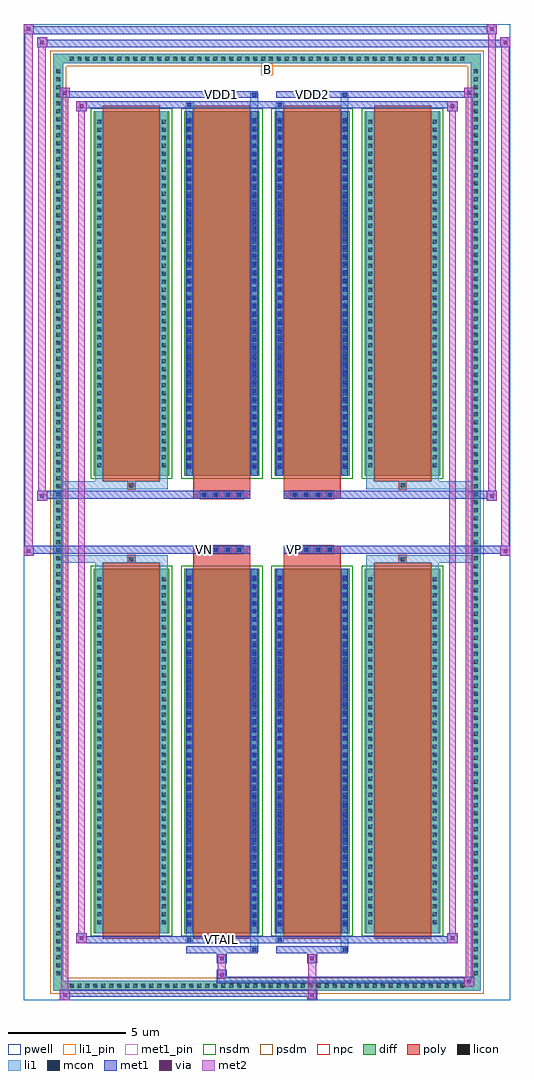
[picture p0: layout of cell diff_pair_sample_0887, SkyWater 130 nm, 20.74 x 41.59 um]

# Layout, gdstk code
import gdstk
lib = gdstk.Library(unit=1e-6, precision=5e-09)
def R(c, l, rs):  # rectangles x0, y0, x1, y1
    for r in rs: c.add(gdstk.rectangle(r[:2], r[2:], *l))
def A(c, l, x, y, w, h, nx, ny, dx, dy):  # array of equal rectangles
    R(c, l, [(x+i*dx, y+j*dy, x+i*dx+w, y+j*dy+h) for i in range(nx) for j in range(ny)])
def P(c, l, *ps):  # polygons
    for p in ps: c.add(gdstk.Polygon(p, *l))
pwell = (64, 44)
diff = (65, 20)
poly = (66, 20)
licon = (66, 44)
li1_pin = (67, 16)
li1 = (67, 20)
mcon = (67, 44)
met1_pin = (68, 16)
met1 = (68, 20)
via = (68, 44)
met2 = (69, 20)
nsdm = (93, 44)
psdm = (94, 20)
npc = (95, 20)

diff_pair_sample_0887 = lib.new_cell('diff_pair_sample_0887')
R(diff_pair_sample_0887, pwell, [(-10.37,-20.36,10.37,21.23), (-7.69,-18.55,-0.01,-0.805), (0.01,-18.55,7.69,-0.805), (-7.69,0.805,-0.01,18.55), (0.01,0.805,7.69,18.55)])
A(diff_pair_sample_0887, diff, -8.535, -19.96, 0.41, 0.41, 50, 2, 0.34, 39.51)
A(diff_pair_sample_0887, diff, -9.1, -19.415, 0.41, 0.41, 1, 114, 0, 0.34)
A(diff_pair_sample_0887, diff, 8.69, -19.415, 0.41, 0.41, 1, 114, 0, 0.34)
A(diff_pair_sample_0887, diff, -7.38, -17.505, 3.21, 15.52, 4, 2, 3.85, 19.49)
R(diff_pair_sample_0887, diff, [(-8.535,-19.96,8.535,-19.55), (-9.1,-19.415,-8.69,19.415), (8.69,-19.415,9.1,19.415), (-8.535,19.55,8.535,19.96)])
P(diff_pair_sample_0887, diff, [(9.1,19.96),(-9.1,19.96),(-9.1,-19.55),(-8.69,-19.55),(-8.69,19.55),(8.69,19.55),(8.69,-19.55),(-8.69,-19.55),(-9.1,-19.55),(-9.1,-19.96),(9.1,-19.96)])
A(diff_pair_sample_0887, poly, -6.99, -17.755, 2.43, 16.02, 4, 2, 3.85, 19.49)
A(diff_pair_sample_0887, poly, -2.84, -1.335, 0.33, 0.33, 4, 2, 0.5, 2.34)
A(diff_pair_sample_0887, poly, 1.01, -1.335, 0.33, 0.33, 4, 2, 0.5, 2.34)
R(diff_pair_sample_0887, poly, [(-5.94,-1.735,-5.61,-1.405), (-5.94,-1.735,-5.61,-1.405), (-3.14,-1.735,-0.71,-1.335), (0.71,-1.735,3.14,-1.335), (5.61,-1.735,5.94,-1.405), (5.61,-1.735,5.94,-1.405), (-3.14,-1.335,-0.71,-1.005), (0.71,-1.335,3.14,-1.005), (-3.14,1.005,-0.71,1.335), (0.71,1.005,3.14,1.335), (-3.14,1.335,-0.71,1.735), (0.71,1.335,3.14,1.735), (-5.94,1.405,-5.61,1.735), (-5.94,1.405,-5.61,1.735), (5.61,1.405,5.94,1.735), (5.61,1.405,5.94,1.735)])
A(diff_pair_sample_0887, licon, -8.415, -19.84, 0.17, 0.17, 50, 2, 0.34, 39.51)
A(diff_pair_sample_0887, licon, -8.98, -19.295, 0.17, 0.17, 1, 114, 0, 0.34)
A(diff_pair_sample_0887, licon, 8.81, -19.295, 0.17, 0.17, 1, 114, 0, 0.34)
A(diff_pair_sample_0887, licon, -7.24, -17.14, 0.17, 0.17, 1, 44, 0, 0.34)
A(diff_pair_sample_0887, licon, -4.48, -17.14, 0.17, 0.17, 1, 44, 0, 0.34)
A(diff_pair_sample_0887, licon, -3.39, -17.14, 0.17, 0.17, 1, 44, 0, 0.34)
A(diff_pair_sample_0887, licon, -0.63, -17.14, 0.17, 0.17, 1, 44, 0, 0.34)
A(diff_pair_sample_0887, licon, 0.46, -17.14, 0.17, 0.17, 1, 44, 0, 0.34)
A(diff_pair_sample_0887, licon, 3.22, -17.14, 0.17, 0.17, 1, 44, 0, 0.34)
A(diff_pair_sample_0887, licon, 4.31, -17.14, 0.17, 0.17, 1, 44, 0, 0.34)
A(diff_pair_sample_0887, licon, 7.07, -17.14, 0.17, 0.17, 1, 44, 0, 0.34)
A(diff_pair_sample_0887, licon, -2.76, -1.255, 0.17, 0.17, 4, 2, 0.5, 2.34)
A(diff_pair_sample_0887, licon, 1.09, -1.255, 0.17, 0.17, 4, 2, 0.5, 2.34)
A(diff_pair_sample_0887, licon, -7.24, 2.35, 0.17, 0.17, 1, 44, 0, 0.34)
A(diff_pair_sample_0887, licon, -4.48, 2.35, 0.17, 0.17, 1, 44, 0, 0.34)
A(diff_pair_sample_0887, licon, -3.39, 2.35, 0.17, 0.17, 1, 44, 0, 0.34)
A(diff_pair_sample_0887, licon, -0.63, 2.35, 0.17, 0.17, 1, 44, 0, 0.34)
A(diff_pair_sample_0887, licon, 0.46, 2.35, 0.17, 0.17, 1, 44, 0, 0.34)
A(diff_pair_sample_0887, licon, 3.22, 2.35, 0.17, 0.17, 1, 44, 0, 0.34)
A(diff_pair_sample_0887, licon, 4.31, 2.35, 0.17, 0.17, 1, 44, 0, 0.34)
A(diff_pair_sample_0887, licon, 7.07, 2.35, 0.17, 0.17, 1, 44, 0, 0.34)
R(diff_pair_sample_0887, licon, [(-5.86,-1.655,-5.69,-1.485), (5.69,-1.655,5.86,-1.485), (-5.86,1.485,-5.69,1.655), (5.69,1.485,5.86,1.655)])
R(diff_pair_sample_0887, li1_pin, [(-0.25,19.05,0.25,19.55)])
A(diff_pair_sample_0887, li1, -8.495, -19.92, 0.33, 0.33, 50, 2, 0.34, 39.51)
A(diff_pair_sample_0887, li1, -9.06, -19.375, 0.33, 0.33, 1, 114, 0, 0.34)
A(diff_pair_sample_0887, li1, 8.73, -19.375, 0.33, 0.33, 1, 114, 0, 0.34)
A(diff_pair_sample_0887, li1, -7.32, -17.22, 0.33, 0.33, 1, 44, 0, 0.34)
A(diff_pair_sample_0887, li1, -4.56, -17.22, 0.33, 0.33, 1, 44, 0, 0.34)
A(diff_pair_sample_0887, li1, -3.47, -17.22, 0.33, 0.33, 1, 44, 0, 0.34)
A(diff_pair_sample_0887, li1, -0.71, -17.22, 0.33, 0.33, 1, 44, 0, 0.34)
A(diff_pair_sample_0887, li1, 0.38, -17.22, 0.33, 0.33, 1, 44, 0, 0.34)
A(diff_pair_sample_0887, li1, 3.14, -17.22, 0.33, 0.33, 1, 44, 0, 0.34)
A(diff_pair_sample_0887, li1, 4.23, -17.22, 0.33, 0.33, 1, 44, 0, 0.34)
A(diff_pair_sample_0887, li1, 6.99, -17.22, 0.33, 0.33, 1, 44, 0, 0.34)
A(diff_pair_sample_0887, li1, -3.39, -17.21, 0.17, 0.17, 1, 42, 0, 0.36)
A(diff_pair_sample_0887, li1, -0.63, -17.21, 0.17, 0.17, 1, 42, 0, 0.36)
A(diff_pair_sample_0887, li1, 0.46, -17.21, 0.17, 0.17, 1, 42, 0, 0.36)
A(diff_pair_sample_0887, li1, 3.22, -17.21, 0.17, 0.17, 1, 42, 0, 0.36)
A(diff_pair_sample_0887, li1, -2.84, -1.335, 0.33, 0.33, 4, 2, 0.5, 2.34)
A(diff_pair_sample_0887, li1, 1.01, -1.335, 0.33, 0.33, 4, 2, 0.5, 2.34)
A(diff_pair_sample_0887, li1, -7.32, 2.27, 0.33, 0.33, 1, 44, 0, 0.34)
A(diff_pair_sample_0887, li1, -4.56, 2.27, 0.33, 0.33, 1, 44, 0, 0.34)
A(diff_pair_sample_0887, li1, -3.47, 2.27, 0.33, 0.33, 1, 44, 0, 0.34)
A(diff_pair_sample_0887, li1, -0.71, 2.27, 0.33, 0.33, 1, 44, 0, 0.34)
A(diff_pair_sample_0887, li1, 0.38, 2.27, 0.33, 0.33, 1, 44, 0, 0.34)
A(diff_pair_sample_0887, li1, 3.14, 2.27, 0.33, 0.33, 1, 44, 0, 0.34)
A(diff_pair_sample_0887, li1, 4.23, 2.27, 0.33, 0.33, 1, 44, 0, 0.34)
A(diff_pair_sample_0887, li1, 6.99, 2.27, 0.33, 0.33, 1, 44, 0, 0.34)
A(diff_pair_sample_0887, li1, -3.39, 2.28, 0.17, 0.17, 1, 42, 0, 0.36)
A(diff_pair_sample_0887, li1, -0.63, 2.28, 0.17, 0.17, 1, 42, 0, 0.36)
A(diff_pair_sample_0887, li1, 0.46, 2.28, 0.17, 0.17, 1, 42, 0, 0.36)
A(diff_pair_sample_0887, li1, 3.22, 2.28, 0.17, 0.17, 1, 42, 0, 0.36)
R(diff_pair_sample_0887, li1, [(-9.1,-19.96,-8.69,-19.55), (-9.1,-19.96,-8.69,-19.55), (-8.69,-19.96,8.69,-19.55), (8.69,-19.96,9.1,-19.55), (8.69,-19.96,9.1,-19.55), (-9.1,-19.55,-8.69,19.55), (8.69,-19.55,9.1,19.55), (-0.71,-18.31,-0.38,-17.505), (-0.63,-18.31,-0.46,-18.14), (3.14,-18.31,3.47,-17.505), (3.22,-18.31,3.39,-18.14), (-3.47,-17.88,-3.14,-17.505), (-3.39,-17.88,-3.22,-17.71), (0.38,-17.88,0.71,-17.505), (0.46,-17.88,0.63,-17.71), (-7.32,-17.505,-6.99,-1.985), (-4.56,-17.505,-4.23,-1.985), (-3.47,-17.505,-3.14,-1.985), (-0.71,-17.505,-0.38,-1.985), (0.38,-17.505,0.71,-1.985), (3.14,-17.505,3.47,-1.985), (4.23,-17.505,4.56,-1.985), (6.99,-17.505,7.32,-1.985), (-3.39,-17.21,-3.22,-2.28), (-0.63,-17.21,-0.46,-2.28), (0.46,-17.21,0.63,-2.28), (3.22,-17.21,3.39,-2.28), (-7.32,-1.985,-6.99,-1.405), (-4.56,-1.985,-4.23,-1.405), (4.23,-1.985,4.56,-1.405), (6.99,-1.985,7.32,-1.405), (-9.1,-1.735,-5.94,-1.405), (-7.32,-1.735,-5.94,-1.405), (-5.94,-1.735,-5.61,-1.405), (-5.61,-1.735,-4.23,-1.405), (4.23,-1.735,5.61,-1.405), (5.61,-1.735,5.94,-1.405), (5.61,-1.735,9.1,-1.405), (5.94,-1.735,7.32,-1.405), (-9.1,1.405,-5.94,1.735), (-7.32,1.405,-5.94,1.735), (-7.32,1.405,-6.99,1.985), (-5.94,1.405,-5.61,1.735), (-5.61,1.405,-4.23,1.735), (-4.56,1.405,-4.23,1.985), (4.23,1.405,5.61,1.735), (4.23,1.405,4.56,1.985), (5.61,1.405,5.94,1.735), (5.61,1.405,9.1,1.735), (5.94,1.405,7.32,1.735), (6.99,1.405,7.32,1.985), (-7.32,1.985,-6.99,17.505), (-4.56,1.985,-4.23,17.505), (-3.47,1.985,-3.14,17.505), (-0.71,1.985,-0.38,17.505), (0.38,1.985,0.71,17.505), (3.14,1.985,3.47,17.505), (4.23,1.985,4.56,17.505), (6.99,1.985,7.32,17.505), (-3.39,2.28,-3.22,17.21), (-0.63,2.28,-0.46,17.21), (0.46,2.28,0.63,17.21), (3.22,2.28,3.39,17.21), (-3.47,17.505,-3.14,17.88), (-0.71,17.505,-0.38,18.31), (0.38,17.505,0.71,17.88), (3.14,17.505,3.47,18.31), (-3.39,17.71,-3.22,17.88), (0.46,17.71,0.63,17.88), (-0.63,18.14,-0.46,18.31), (3.22,18.14,3.39,18.31), (-9.1,19.55,-8.69,19.96), (-9.1,19.55,-8.69,19.96), (-8.69,19.55,8.69,19.96), (8.69,19.55,9.1,19.96), (8.69,19.55,9.1,19.96)])
A(diff_pair_sample_0887, mcon, -3.39, -17.21, 0.17, 0.17, 1, 42, 0, 0.36)
A(diff_pair_sample_0887, mcon, -0.63, -17.21, 0.17, 0.17, 1, 42, 0, 0.36)
A(diff_pair_sample_0887, mcon, 0.46, -17.21, 0.17, 0.17, 1, 42, 0, 0.36)
A(diff_pair_sample_0887, mcon, 3.22, -17.21, 0.17, 0.17, 1, 42, 0, 0.36)
A(diff_pair_sample_0887, mcon, -2.76, -1.255, 0.17, 0.17, 4, 2, 0.5, 2.34)
A(diff_pair_sample_0887, mcon, 1.09, -1.255, 0.17, 0.17, 4, 2, 0.5, 2.34)
A(diff_pair_sample_0887, mcon, -3.39, 2.28, 0.17, 0.17, 1, 42, 0, 0.36)
A(diff_pair_sample_0887, mcon, -0.63, 2.28, 0.17, 0.17, 1, 42, 0, 0.36)
A(diff_pair_sample_0887, mcon, 0.46, 2.28, 0.17, 0.17, 1, 42, 0, 0.36)
A(diff_pair_sample_0887, mcon, 3.22, 2.28, 0.17, 0.17, 1, 42, 0, 0.36)
R(diff_pair_sample_0887, mcon, [(-0.63,-18.31,-0.46,-18.14), (3.22,-18.31,3.39,-18.14), (-3.39,-17.88,-3.22,-17.71), (0.46,-17.88,0.63,-17.71), (-3.39,17.71,-3.22,17.88), (0.46,17.71,0.63,17.88), (-0.63,18.14,-0.46,18.31), (3.22,18.14,3.39,18.31)])
R(diff_pair_sample_0887, met1_pin, [(-2.06,-17.92,-1.79,-17.65), (-2.81,-1.295,-2.54,-1.025), (1.04,-1.295,1.31,-1.025), (-2.06,18.1,-1.79,18.37), (1.79,18.1,2.06,18.37)])
A(diff_pair_sample_0887, met1, -3.45, -17.27, 0.29, 0.29, 1, 42, 0, 0.36)
A(diff_pair_sample_0887, met1, -0.69, -17.27, 0.29, 0.29, 1, 42, 0, 0.36)
A(diff_pair_sample_0887, met1, 0.4, -17.27, 0.29, 0.29, 1, 42, 0, 0.36)
A(diff_pair_sample_0887, met1, 3.16, -17.27, 0.29, 0.29, 1, 42, 0, 0.36)
A(diff_pair_sample_0887, met1, -2.82, -1.315, 0.29, 0.29, 4, 2, 0.5, 2.34)
A(diff_pair_sample_0887, met1, 1.03, -1.315, 0.29, 0.29, 4, 2, 0.5, 2.34)
A(diff_pair_sample_0887, met1, -3.45, 2.22, 0.29, 0.29, 1, 42, 0, 0.36)
A(diff_pair_sample_0887, met1, -0.69, 2.22, 0.29, 0.29, 1, 42, 0, 0.36)
A(diff_pair_sample_0887, met1, 0.4, 2.22, 0.29, 0.29, 1, 42, 0, 0.36)
A(diff_pair_sample_0887, met1, 3.16, 2.22, 0.29, 0.29, 1, 42, 0, 0.36)
R(diff_pair_sample_0887, met1, [(-8.83,-20.36,-8.4,-19.93), (1.71,-20.36,2.14,-19.93), (-8.83,-20.22,2.14,-19.93), (8.4,-19.79,8.83,-19.36), (-2.14,-19.65,8.83,-19.36), (-2.14,-19.51,-1.71,-19.08), (-2.14,-18.8,-1.71,-18.37), (1.71,-18.8,2.14,-18.37), (-3.45,-18.37,-0.4,-18.08), (-0.69,-18.37,-0.4,-18.08), (0.4,-18.37,3.45,-18.08), (3.16,-18.37,3.45,-18.08), (-8.12,-17.94,-7.69,-17.51), (-8.12,-17.94,-3.45,-17.65), (-3.45,-17.94,-3.16,-17.65), (-3.45,-17.94,-0.4,-17.65), (-0.4,-17.94,0.4,-17.65), (0.4,-17.94,0.69,-17.65), (0.4,-17.94,3.45,-17.65), (3.45,-17.94,8.12,-17.65), (7.69,-17.94,8.12,-17.51), (-3.45,-17.505,-3.16,-1.985), (-0.69,-17.505,-0.4,-1.985), (0.4,-17.505,0.69,-1.985), (3.16,-17.505,3.45,-1.985), (-10.37,-1.435,-9.94,-1.005), (9.94,-1.435,10.37,-1.005), (-10.37,-1.335,-0.71,-1.005), (-3.14,-1.335,-0.71,-1.005), (0.71,-1.335,3.14,-1.005), (0.71,-1.335,10.37,-1.005), (-9.8,0.905,-9.37,1.335), (9.37,0.905,9.8,1.335), (-9.8,1.005,-3.14,1.335), (-3.14,1.005,-0.71,1.335), (0.71,1.005,3.14,1.335), (3.14,1.005,9.8,1.335), (-3.45,1.985,-3.16,17.505), (-0.69,1.985,-0.4,17.505), (0.4,1.985,0.69,17.505), (3.16,1.985,3.45,17.505), (-8.12,17.51,-7.69,17.94), (7.69,17.51,8.12,17.94), (-8.12,17.65,-3.45,17.94), (-3.45,17.65,-3.16,17.94), (-3.45,17.65,-0.4,17.94), (-0.4,17.65,0.4,17.94), (0.4,17.65,0.69,17.94), (0.4,17.65,3.45,17.94), (3.45,17.65,8.12,17.94), (-8.83,18.08,-8.4,18.51), (-8.83,18.08,-3.45,18.37), (-3.45,18.08,-0.4,18.37), (-0.69,18.08,-0.4,18.37), (0.4,18.08,3.45,18.37), (3.16,18.08,3.45,18.37), (3.45,18.08,8.83,18.37), (8.4,18.08,8.83,18.51), (-9.8,20.23,-9.37,20.66), (-9.8,20.23,-7.69,20.56), (-7.69,20.23,7.69,20.56), (7.69,20.23,10.37,20.56), (9.94,20.23,10.37,20.66), (-10.37,20.8,-9.94,21.23), (-10.37,20.8,-7.69,21.13), (-7.69,20.8,7.69,21.13), (7.69,20.8,9.8,21.13), (9.37,20.8,9.8,21.23)])
R(diff_pair_sample_0887, via, [(-8.69,-20.22,-8.54,-20.07), (1.85,-20.22,2,-20.07), (8.54,-19.65,8.69,-19.5), (-2,-19.37,-1.85,-19.22), (-2,-18.66,-1.85,-18.51), (1.85,-18.66,2,-18.51), (-7.98,-17.8,-7.83,-17.65), (7.83,-17.8,7.98,-17.65), (-10.23,-1.295,-10.08,-1.145), (10.08,-1.295,10.23,-1.145), (-9.66,1.045,-9.51,1.195), (9.51,1.045,9.66,1.195), (-7.98,17.65,-7.83,17.8), (7.83,17.65,7.98,17.8), (-8.69,18.22,-8.54,18.37), (8.54,18.22,8.69,18.37), (-9.66,20.37,-9.51,20.52), (10.08,20.37,10.23,20.52), (-10.23,20.94,-10.08,21.09), (9.51,20.94,9.66,21.09)])
R(diff_pair_sample_0887, met2, [(-8.83,-20.36,-8.4,-19.93), (-8.76,-20.36,-8.47,18.51), (-8.47,-20.36,-8.4,-19.93), (-8.78,-20.31,-8.45,-19.98), (1.76,-20.31,2.09,-19.98), (1.76,-19.98,2.09,-18.75), (8.4,-19.79,8.83,-19.36), (8.47,-19.79,8.76,18.51), (8.76,-19.79,8.83,-19.36), (8.45,-19.74,8.78,-19.41), (-2.09,-19.46,-1.76,-19.13), (-2.09,-19.13,-1.76,-18.75), (-2.09,-18.75,-1.76,-18.42), (1.76,-18.75,2.09,-18.42), (-8.12,-17.94,-7.69,-17.51), (-8.05,-17.94,-7.76,17.94), (-7.76,-17.94,-7.69,-17.51), (7.69,-17.94,8.12,-17.51), (7.76,-17.94,8.05,17.94), (8.05,-17.94,8.12,-17.51), (-8.07,-17.89,-7.74,-17.56), (7.74,-17.89,8.07,-17.56), (-10.37,-1.435,-9.94,-1.005), (-10.32,-1.435,-9.99,21.23), (-9.99,-1.435,-9.94,-1.005), (9.94,-1.435,10.37,-1.005), (9.99,-1.435,10.32,20.66), (10.32,-1.435,10.37,-1.005), (-10.32,-1.385,-9.99,-1.055), (9.99,-1.385,10.32,-1.055), (-9.8,0.905,-9.37,1.335), (-9.75,0.905,-9.42,20.66), (-9.42,0.905,-9.37,1.335), (9.37,0.905,9.8,1.335), (9.42,0.905,9.75,21.23), (9.75,0.905,9.8,1.335), (-9.75,0.955,-9.42,1.285), (9.42,0.955,9.75,1.285), (-8.12,17.51,-7.69,17.94), (-7.76,17.51,-7.69,17.94), (7.69,17.51,8.12,17.94), (8.05,17.51,8.12,17.94), (-8.07,17.56,-7.74,17.89), (7.74,17.56,8.07,17.89), (-8.83,18.08,-8.4,18.51), (-8.47,18.08,-8.4,18.51), (8.4,18.08,8.83,18.51), (8.76,18.08,8.83,18.51), (-8.78,18.13,-8.45,18.46), (8.45,18.13,8.78,18.46), (-9.8,20.23,-9.37,20.66), (-9.42,20.23,-9.37,20.66), (9.94,20.23,10.37,20.66), (10.32,20.23,10.37,20.66), (-9.75,20.28,-9.42,20.61), (9.99,20.28,10.32,20.61), (-10.37,20.8,-9.94,21.23), (-9.99,20.8,-9.94,21.23), (9.37,20.8,9.8,21.23), (9.75,20.8,9.8,21.23), (-10.32,20.85,-9.99,21.18), (9.42,20.85,9.75,21.18)])
A(diff_pair_sample_0887, nsdm, -7.51, -17.635, 3.47, 15.78, 4, 2, 3.85, 19.49)
P(diff_pair_sample_0887, psdm, [(9.23,20.09),(-9.23,20.09),(-9.23,-19.42),(-8.56,-19.42),(-8.56,19.42),(8.56,19.42),(8.56,-19.42),(-8.56,-19.42),(-9.23,-19.42),(-9.23,-20.09),(9.23,-20.09)])
A(diff_pair_sample_0887, npc, -2.86, -1.355, 0.37, 0.37, 4, 2, 0.5, 2.34)
A(diff_pair_sample_0887, npc, 0.99, -1.355, 0.37, 0.37, 4, 2, 0.5, 2.34)
R(diff_pair_sample_0887, npc, [(-5.96,-1.755,-5.59,-1.385), (5.59,-1.755,5.96,-1.385), (-2.86,-1.355,-1.99,-0.985), (-2.86,-1.355,-1.99,-0.985), (-2.36,-1.355,-1.49,-0.985), (-2.36,-1.355,-1.49,-0.985), (-1.86,-1.355,-0.99,-0.985), (-1.86,-1.355,-0.99,-0.985), (0.99,-1.355,1.86,-0.985), (0.99,-1.355,1.86,-0.985), (1.49,-1.355,2.36,-0.985), (1.49,-1.355,2.36,-0.985), (1.99,-1.355,2.86,-0.985), (1.99,-1.355,2.86,-0.985), (-2.86,0.985,-1.99,1.355), (-2.86,0.985,-1.99,1.355), (-2.36,0.985,-1.49,1.355), (-2.36,0.985,-1.49,1.355), (-1.86,0.985,-0.99,1.355), (-1.86,0.985,-0.99,1.355), (0.99,0.985,1.86,1.355), (0.99,0.985,1.86,1.355), (1.49,0.985,2.36,1.355), (1.49,0.985,2.36,1.355), (1.99,0.985,2.86,1.355), (1.99,0.985,2.86,1.355), (-5.96,1.385,-5.59,1.755), (5.59,1.385,5.96,1.755)])
diff_pair_sample_0887.add(gdstk.Label('VTAIL', (-1.925,-17.785), layer=68, texttype=5))
diff_pair_sample_0887.add(gdstk.Label('VN', (-2.675,-1.16), layer=68, texttype=5))
diff_pair_sample_0887.add(gdstk.Label('VP', (1.175,-1.16), layer=68, texttype=5))
diff_pair_sample_0887.add(gdstk.Label('B', (0,19.3), layer=67, texttype=5))
diff_pair_sample_0887.add(gdstk.Label('VDD2', (1.925,18.235), layer=68, texttype=5))
diff_pair_sample_0887.add(gdstk.Label('VDD1', (-1.925,18.235), layer=68, texttype=5))

lib.write_gds('diff_pair_sample_0887.gds')
